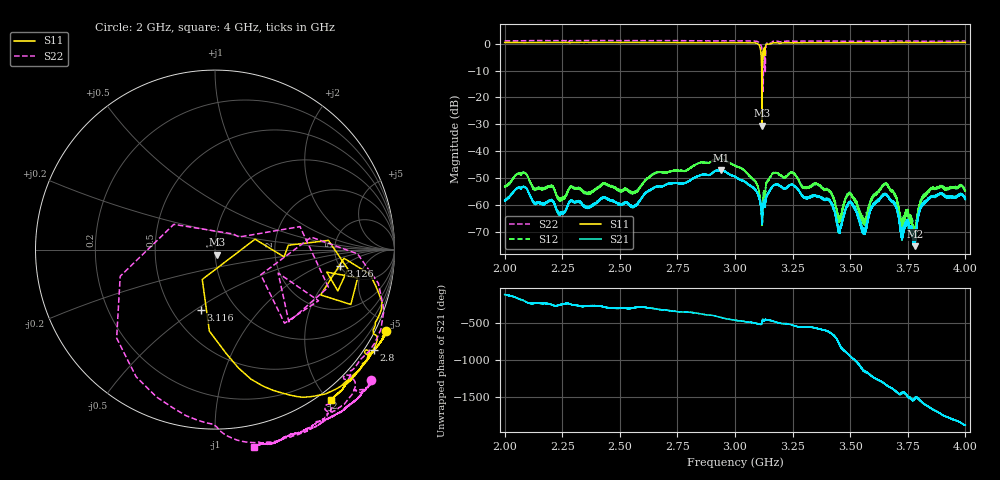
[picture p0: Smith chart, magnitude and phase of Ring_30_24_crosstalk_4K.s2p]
!Agilent Technologies,N5230C,SG49000117,A.08.50.07
!Agilent N5230C: A.08.50.07
!Date: Thursday, May 09, 2024 01:09:16
!Correction: S11(Full 2 Port(1,2))
!S21(Full 2 Port(1,2))
!S12(Full 2 Port(1,2))
!S22(Full 2 Port(1,2))
!S2P File: Measurements: S11, S21, S12, S22:
# Hz S  MA  R 50
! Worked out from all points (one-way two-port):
!   16001 points, 2 GHz to 4 GHz, reference 50 ohm
!   highest |S21| = -47.02 dB at 2.938 GHz (marker M1); lowest = -75.3 dB at 3.781 GHz (marker M2)
!   lowest |S11| = -30.5 dB at 3.117 GHz (marker M3), VSWR 1.06, Z = 51.1 - j2.8 ohm
!   |S11| at or under -10 dB: 3.115753 GHz to 3.117899 GHz (2.145 MHz wide, 0.0688 % of centre)
!   |S22| runs from -17.7 to 1.2 dB; largest |S21 - S12| = 0.0041
!   S11 on the Smith chart (normalised r, x): 2 GHz: -0.56, -4.38; 2.8 GHz: -0.29, -3.43; 3.116 GHz: 0.69, -0.53; 3.126 GHz: 5.08, -1.85; 4 GHz: -0.15, -2.02
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2e9  1.056 -25.4  0.001213 -121.5  0.002167 -142.0  1.135 -40.0
2.083375e9  1.05 -25.8  0.002179 154.5  0.004003 136.3  1.138 -40.7
2.333375e9  1.062 -27.3  0.001114 80.7  0.001876 58.7  1.144 -44.9
2.56275e9  1.057 -29.0  0.0009304 62.8  0.001658 37.3  1.146 -49.0
2.66675e9  1.054 -30.3  0.002224 38.7  0.00408 14.5  1.144 -50.6
2.799875e9  1.047 -32.3  0.002773 0.5  0.004628 -23.0  1.138 -53.6
2.9385e9  1.048 -35.3  0.004456 -69.6  0.007252 -97.9  1.131 -58.0
3e9  1.047 -37.3  0.003384 -107.7  0.005452 -134.3  1.133 -60.7
3.097375e9  1.013 -52.4  0.001661 -154.0  0.002269 175.6  1.098 -78.2
3.115625e9  0.3453 -102.9  0.0005764 -156.7  0.0005105 -175.0  0.8621 -116.2
3.11675e9  0.02975 -66.8  0.0005553 -136.5  0.0005226 -155.7  0.8033 -127.4
3.1255e9  0.7051 -7.5  0.0009438 -107.2  0.001414 -113.1  0.6638 -29.4
3.143375e9  0.9867 -25.2  0.001683 -105.5  0.002823 -122.2  1.016 -38.1
3.333375e9  1.048 -39.8  0.001462 157.1  0.002295 136.1  1.122 -62.0
3.410375e9  1.047 -41.4  0.001213 89.2  0.001831 61.6  1.122 -64.5
3.453625e9  1.048 -42.0  0.0003474 -79.2  0.0005089 -106.5  1.121 -66.0
3.503125e9  1.046 -43.1  0.001149 119.4  0.001542 85.3  1.111 -67.6
3.56e9  1.049 -44.5  0.0002974 -70.2  0.000459 -98.9  1.114 -69.2
3.66675e9  1.05 -46.9  0.001356 75.0  0.002181 48.4  1.121 -72.2
3.780625e9  1.055 -48.7  0.0001709 -78.3  0.0002792 -126.5  1.12 -75.3
3.845e9  1.054 -49.8  0.001361 154.5  0.001839 125.1  1.113 -76.5
4e9  1.059 -52.5  0.001257 -86.0  0.001801 -115.2  1.121 -79.0
